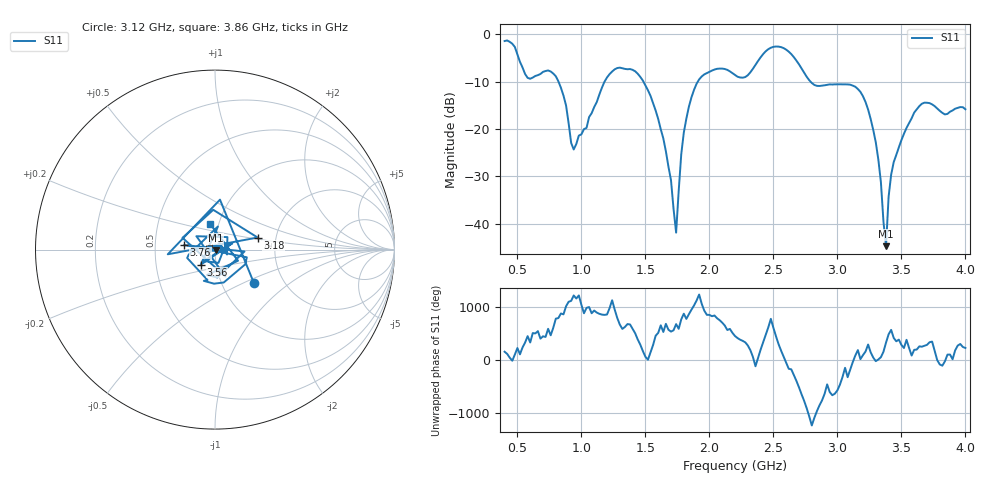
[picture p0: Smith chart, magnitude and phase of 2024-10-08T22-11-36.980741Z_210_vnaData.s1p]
! Created with skrf (http://scikit-rf.org).
# Hz S RI R 50.0
!freq ReS11 ImS11
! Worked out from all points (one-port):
!   181 points, 400 MHz to 4 GHz, reference 50 ohm
!   lowest |S11| = -44.7 dB at 3.38 GHz (marker M1), VSWR 1.01, Z = 50.5 - j0.308 ohm
!   |S11| at or under -10 dB: 821.1 MHz to 1.181 GHz (359.5 MHz wide, 35.9 % of centre); 1.485 GHz to 1.909 GHz (424.6 MHz wide, 25 % of centre); 2.791 GHz to end of sweep
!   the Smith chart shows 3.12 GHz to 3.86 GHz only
!   S11 on the Smith chart (normalised r, x): 3.12 GHz: 1.42, -0.58; 3.18 GHz: 1.60, +0.23; 3.56 GHz: 0.84, -0.14; 3.76 GHz: 0.70, +0.04; 3.86 GHz: 0.91, +0.26
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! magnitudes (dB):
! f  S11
! 400 MHz  -1.4
! 580 MHz  -9.2
! 760 MHz  -7.8
! 860 MHz  -12.9
! 940 MHz  -24.3
! 1.3 GHz  -7.0
! 1.44 GHz  -8.3
! 1.58 GHz  -16.1
! 1.7 GHz  -30.8
! 1.74 GHz  -41.9
! 1.76 GHz  -33.1
! 1.8 GHz  -20.7
! 1.9 GHz  -10.4
! 2.2 GHz  -8.6
! 2.5 GHz  -2.7
! 2.66 GHz  -4.8
! 2.82 GHz  -10.7
! 3.1 GHz  -10.6
! 3.12 GHz  -10.8
! 3.18 GHz  -12.2
! 3.3 GHz  -22.8
! 3.38 GHz  -44.7
! 3.4 GHz  -34.3
! 3.42 GHz  -29.6
! 3.56 GHz  -18.8
! 3.76 GHz  -15.2
! 3.86 GHz  -16.8
! 4 GHz  -15.8
